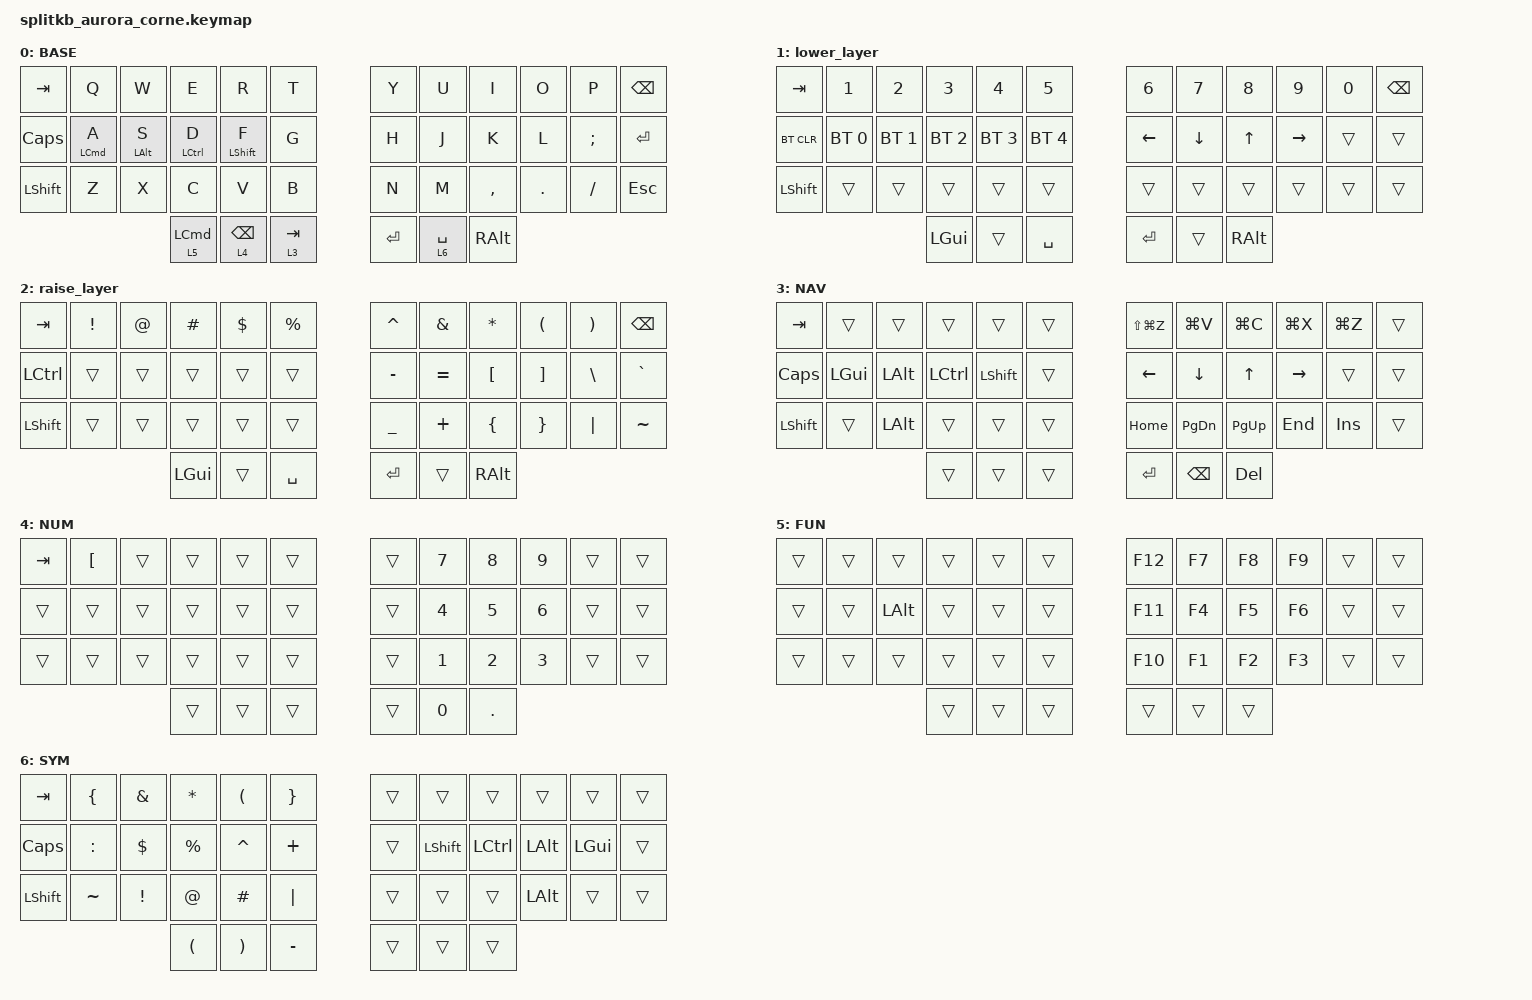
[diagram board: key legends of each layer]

/*
 * Copyright (c) 2020 The ZMK Contributors
 *
 * SPDX-License-Identifier: MIT
 */

#include <behaviors.dtsi>
#include <dt-bindings/zmk/bt.h>
#include <dt-bindings/zmk/keys.h>

&led_strip {
  // chain-length = <0>;
  chain-length = <27>;
  // 21 backlight + 6 glowlight
};

/ {
    behaviors {
        u_lt: u_lt {
            compatible = "zmk,behavior-hold-tap";
            label = "U_LT";
            bindings = <&mo>, <&kp>;

            #binding-cells = <2>;
            tapping-term-ms = <50>;
            flavor = "tap-preferred";
        };
    };

    keymap {
        compatible = "zmk,keymap";

        BASE {
            // -----------------------------------------------------------------------------------------
            // |  TAB |  Q  |  W  |  E  |  R  |  T  |   |  Y  |  U   |  I  |  O  |  P  | BKSP |
            // | CTRL |  A  |  S  |  D  |  F  |  G  |   |  H  |  J   |  K  |  L  |  ;  |  '   |
            // | SHFT |  Z  |  X  |  C  |  V  |  B  |   |  N  |  M   |  ,  |  .  |  /  | ESC  |
            //                    | GUI | LWR | SPC |   | ENT | RSE  | ALT |

            bindings = <
&kp TAB       &kp Q               &kp W           &kp E                 &kp R              &kp T          &kp Y    &kp U          &kp I      &kp O    &kp P     &kp BSPC
&kp CAPSLOCK  &mt LEFT_COMMAND A  &mt LEFT_ALT S  &mt LEFT_CONTROL D    &mt LEFT_SHIFT F   &kp G          &kp H    &kp J          &kp K      &kp L    &kp SEMI  &kp ENTER
&kp LSHFT     &kp Z               &kp X           &kp C                 &kp V              &kp B          &kp N    &kp M          &kp COMMA  &kp DOT  &kp FSLH  &kp ESC
                                                  &u_lt 5 LEFT_COMMAND  &u_lt 4 BACKSPACE  &u_lt 3 TAB    &kp RET  &u_lt 6 SPACE  &kp RALT
            >;
        };

        lower_layer {
            // -----------------------------------------------------------------------------------------
            // |  TAB |  1  |  2  |  3  |  4  |  5  |   |  6  |  7  |  8  |  9  |  0  | BKSP |
            // | BTCLR| BT1 | BT2 | BT3 | BT4 | BT5 |   | LFT | DWN |  UP | RGT |     |      |
            // | SHFT |     |     |     |     |     |   |     |     |     |     |     |      |
            //                    | GUI |     | SPC |   | ENT |     | ALT |

            bindings = <
&kp TAB     &kp N1        &kp N2        &kp N3        &kp N4        &kp N5          &kp N6    &kp N7    &kp N8    &kp N9     &kp N0  &kp BSPC
&bt BT_CLR  &bt BT_SEL 0  &bt BT_SEL 1  &bt BT_SEL 2  &bt BT_SEL 3  &bt BT_SEL 4    &kp LEFT  &kp DOWN  &kp UP    &kp RIGHT  &trans  &trans
&kp LSHFT   &trans        &trans        &trans        &trans        &trans          &trans    &trans    &trans    &trans     &trans  &trans
                                        &kp LGUI      &trans        &kp SPACE       &kp RET   &trans    &kp RALT
            >;
        };

        raise_layer {
            // -----------------------------------------------------------------------------------------
            // |  TAB |  !  |  @  |  #  |  $  |  %  |   |  ^  |  &  |  *  |  (  |  )  | BKSP |
            // | CTRL |     |     |     |     |     |   |  -  |  =  |  [  |  ]  |  \  |  `   |
            // | SHFT |     |     |     |     |     |   |  _  |  +  |  {  |  }  | "|" |  ~   |
            //                    | GUI |     | SPC |   | ENT |     | ALT |

            bindings = <
&kp TAB    &kp EXCL  &kp AT  &kp HASH  &kp DLLR  &kp PRCNT    &kp CARET  &kp AMPS   &kp ASTRK  &kp LPAR  &kp RPAR  &kp BSPC
&kp LCTRL  &trans    &trans  &trans    &trans    &trans       &kp MINUS  &kp EQUAL  &kp LBKT   &kp RBKT  &kp BSLH  &kp GRAVE
&kp LSHFT  &trans    &trans  &trans    &trans    &trans       &kp UNDER  &kp PLUS   &kp LBRC   &kp RBRC  &kp PIPE  &kp TILDE
                             &kp LGUI  &trans    &kp SPACE    &kp RET    &trans     &kp RALT
            >;
        };

        NAV {
            bindings = <
&kp TAB    &trans    &trans    &trans     &trans     &trans    &kp LS(LG(Z))  &kp LG(V)  &kp LG(C)  &kp LG(X)  &kp LG(Z)  &trans
&kp CAPS   &kp LGUI  &kp LALT  &kp LCTRL  &kp LSHFT  &trans    &kp LEFT       &kp DOWN   &kp UP     &kp RIGHT  &trans     &trans
&kp LSHFT  &trans    &kp LALT  &trans     &trans     &trans    &kp HOME       &kp PG_DN  &kp PG_UP  &kp END    &kp INS    &trans
                               &trans     &trans     &trans    &kp RET        &kp BSPC   &kp DEL
            >;
        };

        NUM {
            bindings = <
&kp TAB  &kp LBKT  &trans  &trans  &trans  &trans    &trans  &kp N7  &kp N8   &kp N9  &trans  &trans
&trans   &trans    &trans  &trans  &trans  &trans    &trans  &kp N4  &kp N5   &kp N6  &trans  &trans
&trans   &trans    &trans  &trans  &trans  &trans    &trans  &kp N1  &kp N2   &kp N3  &trans  &trans
                           &trans  &trans  &trans    &trans  &kp N0  &kp DOT
            >;
        };

        FUN {
            bindings = <
&trans  &trans  &trans    &trans  &trans  &trans    &kp F12  &kp F7  &kp F8  &kp F9  &trans  &trans
&trans  &trans  &kp LALT  &trans  &trans  &trans    &kp F11  &kp F4  &kp F5  &kp F6  &trans  &trans
&trans  &trans  &trans    &trans  &trans  &trans    &kp F10  &kp F1  &kp F2  &kp F3  &trans  &trans
                          &trans  &trans  &trans    &trans   &trans  &trans
            >;
        };

        SYM {
            bindings = <
&kp TAB    &kp LEFT_BRACE  &kp AMPS  &kp STAR   &kp LPAR   &kp RBRC     &trans  &trans     &trans     &trans    &trans    &trans
&kp CAPS   &kp COLON       &kp DLLR  &kp PRCNT  &kp CARET  &kp PLUS     &trans  &kp LSHFT  &kp LCTRL  &kp LALT  &kp LGUI  &trans
&kp LSHFT  &kp TILDE       &kp EXCL  &kp AT     &kp HASH   &kp PIPE     &trans  &trans     &trans     &kp LALT  &trans    &trans
                                     &kp LPAR   &kp RPAR   &kp MINUS    &trans  &trans     &trans
            >;
        };
    };
};

